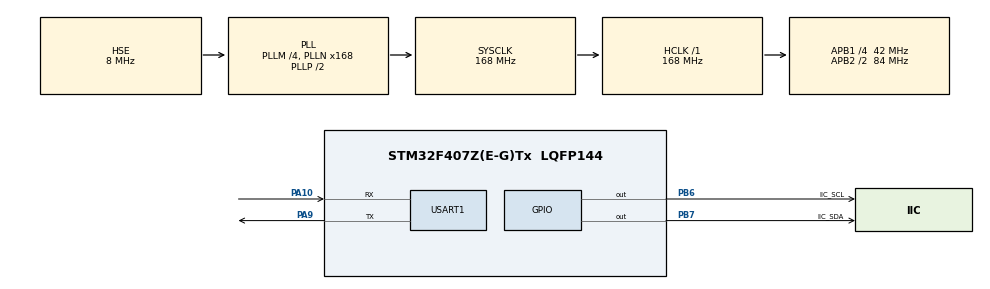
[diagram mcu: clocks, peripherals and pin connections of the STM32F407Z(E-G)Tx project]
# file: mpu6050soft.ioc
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Mcu.Family=STM32F4
Mcu.Name=STM32F407Z(E-G)Tx
Mcu.Package=LQFP144
NVIC.PriorityGroup=NVIC_PRIORITYGROUP_4
PA10.Mode=Asynchronous
PA10.Signal=USART1_RX
PA13.Mode=Serial_Wire
PA13.Signal=SYS_JTMS-SWDIO
PA14.Mode=Serial_Wire
PA14.Signal=SYS_JTCK-SWCLK
PA9.Mode=Asynchronous
PA9.Signal=USART1_TX
PB6.GPIO_Label=IIC_SCL
PB6.GPIO_PuPd=GPIO_PULLUP
PB6.GPIO_Speed=GPIO_SPEED_FREQ_HIGH
PB6.Signal=GPIO_Output
PB7.GPIO_Label=IIC_SDA
PB7.GPIO_PuPd=GPIO_PULLUP
PB7.GPIO_Speed=GPIO_SPEED_FREQ_HIGH
PB7.Signal=GPIO_Output
PH0-OSC_IN.Mode=HSE-External-Oscillator
PH0-OSC_IN.Signal=RCC_OSC_IN
PH1-OSC_OUT.Mode=HSE-External-Oscillator
PH1-OSC_OUT.Signal=RCC_OSC_OUT
ProjectManager.HeapSize=0x200
ProjectManager.StackSize=0x400
ProjectManager.TargetToolchain=MDK-ARM V5
RCC.48MHZClocksFreq_Value=84000000
RCC.AHBFreq_Value=168000000
RCC.APB1CLKDivider=RCC_HCLK_DIV4
RCC.APB1Freq_Value=42000000
RCC.APB1TimFreq_Value=84000000
RCC.APB2CLKDivider=RCC_HCLK_DIV2
RCC.APB2Freq_Value=84000000
RCC.APB2TimFreq_Value=168000000
RCC.CortexFreq_Value=168000000
RCC.HCLKFreq_Value=168000000
RCC.HSE_VALUE=8000000
RCC.HSI_VALUE=16000000
RCC.LSE_VALUE=32768
RCC.PLLM=4
RCC.PLLN=168
RCC.PLLSourceVirtual=RCC_PLLSOURCE_HSE
RCC.SYSCLKFreq_VALUE=168000000
RCC.SYSCLKSource=RCC_SYSCLKSOURCE_PLLCLK
RCC.VCOOutputFreq_Value=336000000
TIM7.Period=65536-1
TIM7.Prescaler=84-1
USART1.VirtualMode=VM_ASYNC
VP_TIM7_VS_ClockSourceINT.Mode=Enable_Timer
board=mpu6050soft

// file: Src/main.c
/**
  ******************************************************************************
  * @file           : main.c
  * @brief          : Main program body
  ******************************************************************************
  ** This notice applies to any and all portions of this file
  * that are not between comment pairs USER CODE BEGIN and
  * USER CODE END. Other portions of this file, whether
  * inserted by the user or by software development tools
  * are owned by their respective copyright owners.
  *
  * COPYRIGHT(c) 2019 STMicroelectronics
  *
  * Redistribution and use in source and binary forms, with or without modification,
  * are permitted provided that the following conditions are met:
  *   1. Redistributions of source code must retain the above copyright notice,
  *      this list of conditions and the following disclaimer.
  *   2. Redistributions in binary form must reproduce the above copyright notice,
  *      this list of conditions and the following disclaimer in the documentation
  *      and/or other materials provided with the distribution.
  *   3. Neither the name of STMicroelectronics nor the names of its contributors
  *      may be used to endorse or promote products derived from this software
  *      without specific prior written permission.
  *
  * THIS SOFTWARE IS PROVIDED BY THE COPYRIGHT HOLDERS AND CONTRIBUTORS "AS IS"
  * AND ANY EXPRESS OR IMPLIED WARRANTIES, INCLUDING, BUT NOT LIMITED TO, THE
  * IMPLIED WARRANTIES OF MERCHANTABILITY AND FITNESS FOR A PARTICULAR PURPOSE ARE
  * DISCLAIMED. IN NO EVENT SHALL THE COPYRIGHT HOLDER OR CONTRIBUTORS BE LIABLE
  * FOR ANY DIRECT, INDIRECT, INCIDENTAL, SPECIAL, EXEMPLARY, OR CONSEQUENTIAL
  * DAMAGES (INCLUDING, BUT NOT LIMITED TO, PROCUREMENT OF SUBSTITUTE GOODS OR
  * SERVICES; LOSS OF USE, DATA, OR PROFITS; OR BUSINESS INTERRUPTION) HOWEVER
  * CAUSED AND ON ANY THEORY OF LIABILITY, WHETHER IN CONTRACT, STRICT LIABILITY,
  * OR TORT (INCLUDING NEGLIGENCE OR OTHERWISE) ARISING IN ANY WAY OUT OF THE USE
  * OF THIS SOFTWARE, EVEN IF ADVISED OF THE POSSIBILITY OF SUCH DAMAGE.
  *
  ******************************************************************************
  */
#include "main.h"
#include "stm32f4xx_hal.h"
#include "tim.h"
#include "usart.h"
#include "gpio.h"

/* USER CODE BEGIN Includes */
#include "sys.h"
#include "mpu9250.h"
#include "inv_mpu.h"
#include "inv_mpu_dmp_motion_driver.h"
/* USER CODE END Includes */

/* USER CODE BEGIN PV */
/* Private variables ---------------------------------------------------------*/

/* USER CODE END PV */

void SystemClock_Config(void);

/* USER CODE BEGIN PFP */
/* Private function prototypes -----------------------------------------------*/

/* USER CODE END PFP */

int main(void)
{
  /* USER CODE BEGIN 1 */
	u8 t=0,report=1;			//默认开启上报
	u8 key;
	float pitch,roll,yaw; 		//欧拉角
	short aacx,aacy,aacz;		//加速度传感器原始数据
	short gyrox,gyroy,gyroz;	//陀螺仪原始数据
	float temp;					//温度
  /* USER CODE END 1 */

  /* MCU Configuration----------------------------------------------------------*/

  /* Reset of all peripherals, Initializes the Flash interface and the Systick. */
  HAL_Init();

  /* Configure the system clock */
  SystemClock_Config();

  /* Initialize all configured peripherals */
  MX_GPIO_Init();
  MX_USART1_UART_Init();
  MX_TIM7_Init();
  /* USER CODE BEGIN 2 */
	//printf("hello\r\n");

		while(mpu_dmp_init())
	{
		delay_ms(200);
	}
  /* USER CODE END 2 */

  /* Infinite loop */
  while (1)
  {

  /* USER CODE BEGIN 3 */
				if(mpu_mpl_get_data(&pitch,&roll,&yaw)==0)
			{
				MPU_Get_Accelerometer(&aacx,&aacy,&aacz);	//得到加速度传感器数据
				//printf("\r\n加速度： %8d%8d%8d    ",aacx,aacy,aacz);
				MPU_Get_Gyroscope(&gyrox,&gyroy,&gyroz);	//得到陀螺仪数据
				//printf("陀螺仪： %8d%8d%8d    ",gyrox,gyroy,gyroz);
				temp=MPU_Get_Temperature();	//得到温度值
				printf("\r\n温度:   %8.2f   ",temp);
				printf("pitch:   %8.2f   ",pitch);
				printf("yaw:   %8.2f   ",yaw);
				printf("roll:   %8.2f   ",roll);
			}
	}
  /* USER CODE END 3 */

}

void SystemClock_Config(void)
{

  RCC_OscInitTypeDef RCC_OscInitStruct;
  RCC_ClkInitTypeDef RCC_ClkInitStruct;

    /**Configure the main internal regulator output voltage
    */
  __HAL_RCC_PWR_CLK_ENABLE();

  __HAL_PWR_VOLTAGESCALING_CONFIG(PWR_REGULATOR_VOLTAGE_SCALE1);

    /**Initializes the CPU, AHB and APB busses clocks
    */
  RCC_OscInitStruct.OscillatorType = RCC_OSCILLATORTYPE_HSE;
  RCC_OscInitStruct.HSEState = RCC_HSE_ON;
  RCC_OscInitStruct.PLL.PLLState = RCC_PLL_ON;
  RCC_OscInitStruct.PLL.PLLSource = RCC_PLLSOURCE_HSE;
  RCC_OscInitStruct.PLL.PLLM = 4;
  RCC_OscInitStruct.PLL.PLLN = 168;
  RCC_OscInitStruct.PLL.PLLP = RCC_PLLP_DIV2;
  RCC_OscInitStruct.PLL.PLLQ = 4;
  if (HAL_RCC_OscConfig(&RCC_OscInitStruct) != HAL_OK)
  {
    _Error_Handler(__FILE__, __LINE__);
  }

    /**Initializes the CPU, AHB and APB busses clocks
    */
  RCC_ClkInitStruct.ClockType = RCC_CLOCKTYPE_HCLK|RCC_CLOCKTYPE_SYSCLK
                              |RCC_CLOCKTYPE_PCLK1|RCC_CLOCKTYPE_PCLK2;
  RCC_ClkInitStruct.SYSCLKSource = RCC_SYSCLKSOURCE_PLLCLK;
  RCC_ClkInitStruct.AHBCLKDivider = RCC_SYSCLK_DIV1;
  RCC_ClkInitStruct.APB1CLKDivider = RCC_HCLK_DIV4;
  RCC_ClkInitStruct.APB2CLKDivider = RCC_HCLK_DIV2;

  if (HAL_RCC_ClockConfig(&RCC_ClkInitStruct, FLASH_LATENCY_5) != HAL_OK)
  {
    _Error_Handler(__FILE__, __LINE__);
  }

    /**Configure the Systick interrupt time
    */
  HAL_SYSTICK_Config(HAL_RCC_GetHCLKFreq()/1000);

    /**Configure the Systick
    */
  HAL_SYSTICK_CLKSourceConfig(SYSTICK_CLKSOURCE_HCLK);

  /* SysTick_IRQn interrupt configuration */
  HAL_NVIC_SetPriority(SysTick_IRQn, 0, 0);
}

void _Error_Handler(char *file, int line)
{
  while(1)
  {
  }
}

/************************ (C) COPYRIGHT STMicroelectronics *****END OF FILE****/
